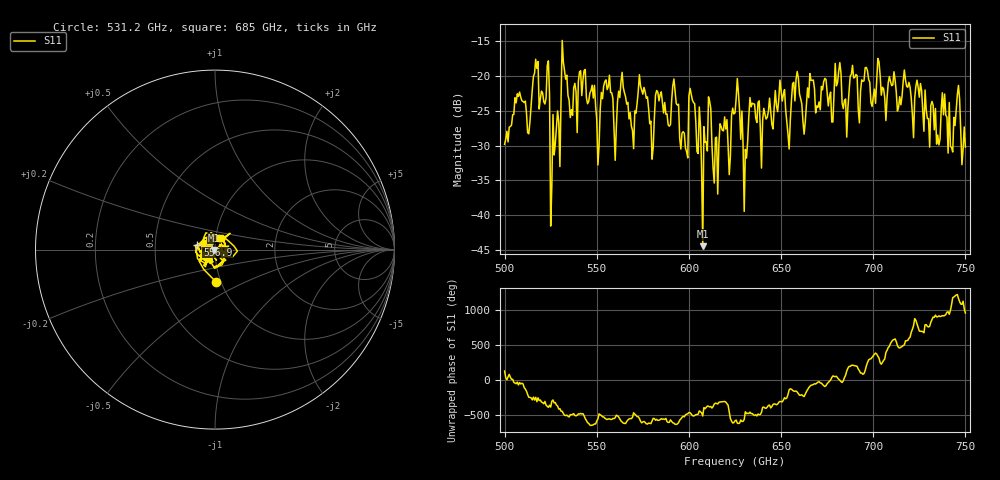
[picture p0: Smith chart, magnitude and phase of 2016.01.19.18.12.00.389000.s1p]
!Created with skrf (http://scikit-rf.org).
# GHz S RI R 50.0
!freq ReS11 ImS11
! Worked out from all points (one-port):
!   401 points, 500 GHz to 750 GHz, reference 50 ohm
!   lowest |S11| = -44.5 dB at 607.5 GHz (marker M1), VSWR 1.01, Z = 49.5 - j0.249 ohm
!   |S11| at or under -10 dB: start of sweep to end of sweep
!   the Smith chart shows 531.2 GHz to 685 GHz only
!   S11 on the Smith chart (normalised r, x): 531.2 GHz: 0.95, -0.35; 556.9 GHz: 0.82, +0.05; 685 GHz: 1.05, +0.13
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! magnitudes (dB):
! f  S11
! 500 GHz  -29.8
! 506.9 GHz  -22.5
! 513.1 GHz  -28.3
! 516.9 GHz  -17.6
! 523.1 GHz  -18.5
! 526.2 GHz  -25.5
! 531.2 GHz  -14.9
! 542.5 GHz  -20.5
! 550.6 GHz  -32.8
! 556.9 GHz  -19.9
! 560 GHz  -32.1
! 562.5 GHz  -23.1
! 568.8 GHz  -27.2
! 574.4 GHz  -22.0
! 580 GHz  -31.9
! 593.8 GHz  -24.2
! 598.1 GHz  -30.3
! 601.9 GHz  -23.4
! 607.5 GHz  -44.5
! 625 GHz  -25.3
! 630.6 GHz  -30.5
! 634.4 GHz  -23.9
! 656.2 GHz  -21.1
! 680.6 GHz  -21.0
! 685 GHz  -23.3
! 687.5 GHz  -20.0
! 718.8 GHz  -21.6
! 750 GHz  -30.2
